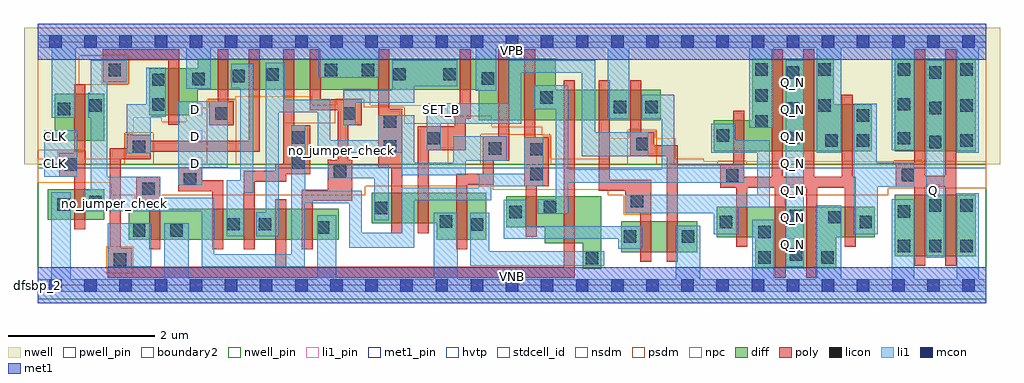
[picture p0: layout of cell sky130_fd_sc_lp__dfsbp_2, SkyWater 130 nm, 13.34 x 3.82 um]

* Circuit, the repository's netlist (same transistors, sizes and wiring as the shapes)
* Copyright 2020 The SkyWater PDK Authors
*
* Licensed under the Apache License, Version 2.0 (the "License");
* you may not use this file except in compliance with the License.
* You may obtain a copy of the License at
*
*     https://www.apache.org/licenses/LICENSE-2.0
*
* Unless required by applicable law or agreed to in writing, software
* distributed under the License is distributed on an "AS IS" BASIS,
* WITHOUT WARRANTIES OR CONDITIONS OF ANY KIND, either express or implied.
* See the License for the specific language governing permissions and
* limitations under the License.
*
* SPDX-License-Identifier: Apache-2.0

.SUBCKT sky130_fd_sc_lp__dfsbp_2 CLK D SET_B VGND VNB VPB VPWR Q Q_N
*.PININFO CLK:I D:I SET_B:I VGND:I VNB:I VPB:I VPWR:I Q:O Q_N:O
MI36 net130 M0 VGND VNB sky130_fd_pr__nfet_01v8 m=1 w=0.64U l=0.15U mult=1 sa=0.265
+ sb=0.265 sd=0.28 area=0.063 perim=1.14
MI42 db clkneg M0 VNB sky130_fd_pr__nfet_01v8 m=1 w=0.42U l=0.15U mult=1 sa=0.265
+ sb=0.265 sd=0.28 area=0.063 perim=1.14
MI44 clkneg CLK VGND VNB sky130_fd_pr__nfet_01v8 m=1 w=0.42U l=0.15U mult=1 sa=0.265
+ sb=0.265 sd=0.28 area=0.063 perim=1.14
MI39 db D VGND VNB sky130_fd_pr__nfet_01v8 m=1 w=0.42U l=0.15U mult=1 sa=0.265
+ sb=0.265 sd=0.28 area=0.063 perim=1.14
MI656 M1 M0 net113 VNB sky130_fd_pr__nfet_01v8 m=1 w=0.42U l=0.15U mult=1 sa=0.265
+ sb=0.265 sd=0.28 area=0.063 perim=1.14
MI654 net110 M1 VGND VNB sky130_fd_pr__nfet_01v8 m=1 w=0.42U l=0.15U mult=1 sa=0.265
+ sb=0.265 sd=0.28 area=0.063 perim=1.14
MI34 S0 clkpos net130 VNB sky130_fd_pr__nfet_01v8 m=1 w=0.64U l=0.15U mult=1 sa=0.265
+ sb=0.265 sd=0.28 area=0.063 perim=1.14
MI46 clkpos clkneg VGND VNB sky130_fd_pr__nfet_01v8 m=1 w=0.42U l=0.15U mult=1
+ sa=0.265 sb=0.265 sd=0.28 area=0.063 perim=1.14
MI25 net98 SET_B VGND VNB sky130_fd_pr__nfet_01v8 m=1 w=0.42U l=0.15U mult=1 sa=0.265
+ sb=0.265 sd=0.28 area=0.063 perim=1.14
MI26 S0 clkneg net90 VNB sky130_fd_pr__nfet_01v8 m=1 w=0.42U l=0.15U mult=1 sa=0.265
+ sb=0.265 sd=0.28 area=0.063 perim=1.14
MI27 net90 S1 net98 VNB sky130_fd_pr__nfet_01v8 m=1 w=0.42U l=0.15U mult=1 sa=0.265
+ sb=0.265 sd=0.28 area=0.063 perim=1.14
MI647 S1 S0 VGND VNB sky130_fd_pr__nfet_01v8 m=1 w=0.42U l=0.15U mult=1 sa=0.265
+ sb=0.265 sd=0.28 area=0.063 perim=1.14
MI655 M0 clkpos net110 VNB sky130_fd_pr__nfet_01v8 m=1 w=0.42U l=0.15U mult=1 sa=0.265
+ sb=0.265 sd=0.28 area=0.063 perim=1.14
MI657 net113 SET_B VGND VNB sky130_fd_pr__nfet_01v8 m=1 w=0.42U l=0.15U mult=1
+ sa=0.265 sb=0.265 sd=0.28 area=0.063 perim=1.14
MI651 Q_N S0 VGND VNB sky130_fd_pr__nfet_01v8 m=2 w=0.84U l=0.15U mult=1 sa=0.265
+ sb=0.265 sd=0.28 area=0.063 perim=1.14
MI652 net142 S0 VGND VNB sky130_fd_pr__nfet_01v8 m=1 w=0.42U l=0.15U mult=1 sa=0.265
+ sb=0.265 sd=0.28 area=0.063 perim=1.14
MI653 Q net142 VGND VNB sky130_fd_pr__nfet_01v8 m=2 w=0.84U l=0.15U mult=1 sa=0.265
+ sb=0.265 sd=0.28 area=0.063 perim=1.14
MI40 db D VPWR VPB sky130_fd_pr__pfet_01v8_hvt m=1 w=0.42U l=0.15U mult=1 sa=0.265
+ sb=0.265 sd=0.28 area=0.063 perim=1.14
MI38 S0 clkneg net193 VPB sky130_fd_pr__pfet_01v8_hvt m=1 w=0.84U l=0.15U mult=1
+ sa=0.265 sb=0.265 sd=0.28 area=0.063 perim=1.14
MI37 net193 M0 VPWR VPB sky130_fd_pr__pfet_01v8_hvt m=1 w=0.84U l=0.15U mult=1
+ sa=0.265 sb=0.265 sd=0.28 area=0.063 perim=1.14
MI43 db clkpos M0 VPB sky130_fd_pr__pfet_01v8_hvt m=1 w=0.42U l=0.15U mult=1 sa=0.265
+ sb=0.265 sd=0.28 area=0.063 perim=1.14
MI45 clkneg CLK VPWR VPB sky130_fd_pr__pfet_01v8_hvt m=1 w=0.64U l=0.15U mult=1
+ sa=0.265 sb=0.265 sd=0.28 area=0.063 perim=1.14
MI47 clkpos clkneg VPWR VPB sky130_fd_pr__pfet_01v8_hvt m=1 w=0.64U l=0.15U mult=1
+ sa=0.265 sb=0.265 sd=0.28 area=0.063 perim=1.14
MI659 M1 SET_B VPWR VPB sky130_fd_pr__pfet_01v8_hvt m=1 w=0.42U l=0.15U mult=1
+ sa=0.265 sb=0.265 sd=0.28 area=0.063 perim=1.14
MI662 net170 M1 VPWR VPB sky130_fd_pr__pfet_01v8_hvt m=1 w=0.42U l=0.15U mult=1
+ sa=0.265 sb=0.265 sd=0.28 area=0.063 perim=1.14
MI664 M0 clkneg net170 VPB sky130_fd_pr__pfet_01v8_hvt m=1 w=0.42U l=0.15U mult=1
+ sa=0.265 sb=0.265 sd=0.28 area=0.063 perim=1.14
MI6 net157 S1 VPWR VPB sky130_fd_pr__pfet_01v8_hvt m=1 w=0.42U l=0.15U mult=1 sa=0.265
+ sb=0.265 sd=0.28 area=0.063 perim=1.14
MI5 S0 clkpos net157 VPB sky130_fd_pr__pfet_01v8_hvt m=1 w=0.42U l=0.15U mult=1
+ sa=0.265 sb=0.265 sd=0.28 area=0.063 perim=1.14
MI24 S0 SET_B VPWR VPB sky130_fd_pr__pfet_01v8_hvt m=1 w=0.42U l=0.15U mult=1 sa=0.265
+ sb=0.265 sd=0.28 area=0.063 perim=1.14
MI648 S1 S0 VPWR VPB sky130_fd_pr__pfet_01v8_hvt m=1 w=0.42U l=0.15U mult=1 sa=0.265
+ sb=0.265 sd=0.28 area=0.063 perim=1.14
MI658 M1 M0 VPWR VPB sky130_fd_pr__pfet_01v8_hvt m=1 w=0.42U l=0.15U mult=1 sa=0.265
+ sb=0.265 sd=0.28 area=0.063 perim=1.14
MI663 net142 S0 VPWR VPB sky130_fd_pr__pfet_01v8_hvt m=1 w=0.64U l=0.15U mult=1
+ sa=0.265 sb=0.265 sd=0.28 area=0.063 perim=1.14
MI660 Q net142 VPWR VPB sky130_fd_pr__pfet_01v8_hvt m=2 w=1.26U l=0.15U mult=1
+ sa=0.265 sb=0.265 sd=0.28 area=0.063 perim=1.14
MI661 Q_N S0 VPWR VPB sky130_fd_pr__pfet_01v8_hvt m=2 w=1.26U l=0.15U mult=1 sa=0.265
+ sb=0.265 sd=0.28 area=0.063 perim=1.14
.ENDS sky130_fd_sc_lp__dfsbp_2

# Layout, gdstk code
import gdstk
lib = gdstk.Library(unit=1e-6, precision=1e-09)
def R(c, l, rs):  # rectangles x0, y0, x1, y1
    for r in rs: c.add(gdstk.rectangle(r[:2], r[2:], *l))
def A(c, l, x, y, w, h, nx, ny, dx, dy):  # array of equal rectangles
    R(c, l, [(x+i*dx, y+j*dy, x+i*dx+w, y+j*dy+h) for i in range(nx) for j in range(ny)])
def P(c, l, *ps):  # polygons
    for p in ps: c.add(gdstk.Polygon(p, *l))
nwell_pin = (64, 16)
nwell = (64, 20)
diff = (65, 20)
poly = (66, 20)
licon = (66, 44)
li1_pin = (67, 16)
li1 = (67, 20)
mcon = (67, 44)
met1_pin = (68, 16)
met1 = (68, 20)
hvtp = (78, 44)
stdcell_id = (81, 4)
nsdm = (93, 44)
psdm = (94, 20)
npc = (95, 20)
pwell_pin = (122, 16)
boundary2 = (236, 0)

sky130_fd_sc_lp__dfsbp_2 = lib.new_cell('sky130_fd_sc_lp__dfsbp_2')
R(sky130_fd_sc_lp__dfsbp_2, nwell_pin, [(0,3.085,12.96,3.33)])
R(sky130_fd_sc_lp__dfsbp_2, nwell, [(-0.19,1.655,13.15,3.52)])
R(sky130_fd_sc_lp__dfsbp_2, diff, [(11.71,0.395,12.82,1.235), (7.97,0.455,9.01,0.875), (1.24,0.625,4.115,1.045), (0.135,0.895,0.91,1.315), (11.71,1.835,12.82,3.095), (0.23,1.975,0.91,2.615)])
P(sky130_fd_sc_lp__dfsbp_2, diff, [(6.13,1.265),(4.565,1.265),(4.565,0.845),(5.45,0.845),(5.45,0.625),(6.13,0.625)],
  [(7.7,1.215),(6.4,1.215),(6.4,0.795),(6.925,0.795),(6.925,0.575),(7.45,0.575),(7.45,0.225),(7.7,0.225)],
  [(8.51,2.675),(7.075,2.675),(7.075,3.095),(2.185,3.095),(2.185,2.965),(1.52,2.965),(1.52,2.325),(2.185,2.325),(2.185,2.675),(6.025,2.675),(6.025,2.255),(8.51,2.255)],
  [(11.4,2.475),(10.875,2.475),(10.875,3.095),(9.765,3.095),(9.765,2.255),(9.24,2.255),(9.24,1.835),(11.4,1.835)],
  [(11.44,1.075),(9.28,1.075),(9.28,0.655),(9.805,0.655),(9.805,0.235),(10.915,0.235),(10.915,0.655),(11.44,0.655)])
P(sky130_fd_sc_lp__dfsbp_2, poly, [(0.645,2.745),(0.495,2.745),(0.495,1.815),(0.29,1.815),(0.29,1.485),(0.495,1.485),(0.495,0.765),(0.645,0.765)],
  [(1.675,1.485),(1.345,1.485),(1.345,1.155),(1.525,1.155),(1.525,0.495),(1.675,0.495)],
  [(1.935,3.225),(0.885,3.225),(0.885,2.775),(1.215,2.775),(1.215,3.075),(1.785,3.075),(1.785,2.195),(1.935,2.195)],
  [(2.535,1.435),(2.245,1.435),(2.245,1.615),(1.915,1.615),(1.915,1.285),(2.385,1.285),(2.385,0.495),(2.535,0.495)],
  [(2.675,2.515),(2.605,2.515),(2.605,3.225),(2.455,3.225),(2.455,2.515),(2.345,2.515),(2.345,2.185),(2.675,2.185)],
  [(3.725,2.185),(3.505,2.185),(3.505,3.225),(3.355,3.225),(3.355,1.665),(3.245,1.665),(3.245,1.565),(2.815,1.565),(2.815,0.495),(2.965,0.495),(2.965,1.415),(3.395,1.415),(3.395,1.515),(3.725,1.515)],
  [(4.425,2.545),(3.865,2.545),(3.865,3.225),(3.715,3.225),(3.715,2.395),(4.095,2.395),(4.095,1.715),(3.965,1.715),(3.965,1.305),(3.605,1.305),(3.605,0.495),(3.755,0.495),(3.755,1.155),(4.295,1.155),(4.295,1.715),(4.245,1.715),(4.245,2.185),(4.425,2.185)],
  [(4.8,3.225),(4.65,3.225),(4.65,1.605),(4.83,1.605),(4.83,0.715),(4.98,0.715),(4.98,2.415),(4.8,2.415)],
  [(5.915,3.225),(5.765,3.225),(5.765,2.425),(5.695,2.425),(5.695,2.175),(5.19,2.175),(5.19,0.715),(5.34,0.715),(5.34,1.845),(5.845,1.845),(5.845,2.275),(5.915,2.275)],
  [(6.44,3.225),(6.29,3.225),(6.29,2.035),(6.08,2.035),(6.08,1.525),(5.715,1.525),(5.715,0.495),(5.865,0.495),(5.865,1.375),(6.23,1.375),(6.23,1.705),(6.44,1.705)],
  [(6.98,2.025),(6.8,2.025),(6.8,3.225),(6.65,3.225),(6.65,1.355),(6.665,1.355),(6.665,0.665),(6.815,0.665),(6.815,1.355),(6.98,1.355)],
  [(7.34,2.805),(7.19,2.805),(7.19,0.255),(3.395,0.255),(3.395,1.175),(3.245,1.175),(3.245,0.255),(1.285,0.255),(1.285,0.515),(1.135,0.515),(1.135,1.725),(1.545,1.725),(1.545,1.825),(3.035,1.825),(3.035,3.225),(2.885,3.225),(2.885,1.975),(1.545,1.975),(1.545,2.055),(1.215,2.055),(1.215,1.875),(0.985,1.875),(0.985,0.515),(0.955,0.515),(0.955,0.105),(7.34,0.105)],
  [(8.385,1.44),(7.815,1.44),(7.815,2.805),(7.665,2.805),(7.665,1.29),(8.025,1.29),(8.025,0.985),(8.235,0.985),(8.235,0.325),(8.385,0.325)],
  [(8.745,1.915),(8.425,1.915),(8.425,2.095),(8.245,2.095),(8.245,2.805),(8.095,2.805),(8.095,1.765),(8.595,1.765),(8.595,0.325),(8.745,0.325)],
  [(11.175,1.485),(11.135,1.485),(11.135,2.605),(10.985,2.605),(10.985,1.485),(10.61,1.485),(10.61,3.225),(10.46,3.225),(10.46,1.485),(10.18,1.485),(10.18,3.225),(10.03,3.225),(10.03,1.485),(9.655,1.485),(9.655,2.385),(9.505,2.385),(9.505,1.665),(9.325,1.665),(9.325,1.335),(9.545,1.335),(9.545,0.525),(9.695,0.525),(9.695,1.335),(10.07,1.335),(10.07,0.105),(10.22,0.105),(10.22,1.335),(10.5,1.335),(10.5,0.105),(10.65,0.105),(10.65,1.335),(11.025,1.335),(11.025,0.525),(11.175,0.525)],
  [(12.555,3.225),(12.405,3.225),(12.405,1.495),(12.125,1.495),(12.125,3.225),(11.975,3.225),(11.975,1.675),(11.725,1.675),(11.725,1.345),(11.975,1.345),(11.975,0.265),(12.125,0.265),(12.125,1.345),(12.405,1.345),(12.405,0.265),(12.555,0.265)])
A(sky130_fd_sc_lp__dfsbp_2, licon, 11.75, 0.455, 0.17, 0.17, 3, 1, 0.43, 0)
A(sky130_fd_sc_lp__dfsbp_2, licon, 9.805, 2.155, 0.17, 0.17, 1, 3, 0, 0.355)
R(sky130_fd_sc_lp__dfsbp_2, licon, [(1.035,0.265,1.205,0.435), (7.49,0.285,7.66,0.455), (9.845,0.295,10.015,0.465), (10.705,0.295,10.875,0.465), (10.275,0.335,10.445,0.505), (8.01,0.58,8.18,0.75), (8.8,0.58,8.97,0.75), (9.845,0.645,10.015,0.815), (1.3,0.665,1.47,0.835), (1.81,0.665,1.98,0.835), (3.815,0.705,3.985,0.875), (5.92,0.745,6.09,0.915), (2.59,0.75,2.76,0.92), (3.02,0.75,3.19,0.92), (9.32,0.78,9.49,0.95), (11.23,0.78,11.4,0.95), (5.49,0.785,5.66,0.955), (10.8,0.845,10.97,1.015), (10.275,0.865,10.445,1.035), (6.44,0.92,6.61,1.09), (11.75,0.925,11.92,1.095), (4.605,0.97,4.775,1.14), (6.915,0.985,7.085,1.155), (12.18,1.005,12.35,1.175), (12.61,1.005,12.78,1.175), (0.265,1.02,0.435,1.19), (0.7,1.055,0.87,1.225), (8.105,1.065,8.275,1.235), (1.425,1.235,1.595,1.405), (1.995,1.365,2.165,1.535), (9.405,1.415,9.575,1.585), (11.805,1.425,11.975,1.595), (6.73,1.435,6.9,1.605), (4.045,1.465,4.215,1.635), (0.37,1.565,0.54,1.735), (3.475,1.595,3.645,1.765), (6.73,1.775,6.9,1.945), (6.16,1.785,6.33,1.955), (1.295,1.805,1.465,1.975), (4.73,1.815,4.9,1.985), (8.175,1.845,8.345,2.015), (12.18,1.875,12.35,2.045), (10.76,1.895,10.93,2.065), (11.19,1.895,11.36,2.065), (12.61,1.895,12.78,2.065), (5.325,1.925,5.495,2.095), (11.75,1.925,11.92,2.095), (10.235,1.93,10.405,2.1), (3.475,1.935,3.645,2.105), (9.28,1.96,9.45,2.13), (4.73,2.155,4.9,2.325), (11.19,2.235,11.36,2.405), (2.425,2.265,2.595,2.435), (4.175,2.265,4.345,2.435), (0.27,2.325,0.44,2.495), (10.235,2.335,10.405,2.505), (12.18,2.34,12.35,2.51), (7.87,2.355,8.04,2.525), (8.3,2.355,8.47,2.525), (0.7,2.37,0.87,2.54), (10.665,2.375,10.835,2.545), (12.61,2.375,12.78,2.545), (1.56,2.385,1.73,2.555), (11.75,2.39,11.92,2.56), (6.865,2.485,7.035,2.655), (1.56,2.725,1.73,2.895), (2.11,2.735,2.28,2.905), (6.065,2.74,6.235,2.91), (2.66,2.775,2.83,2.945), (3.125,2.795,3.295,2.965), (4.855,2.8,5.025,2.97), (5.54,2.8,5.71,2.97), (10.235,2.825,10.405,2.995), (12.18,2.825,12.35,2.995), (0.965,2.855,1.135,3.025), (3.92,2.86,4.09,3.03), (4.425,2.86,4.595,3.03), (10.665,2.865,10.835,3.035), (11.75,2.865,11.92,3.035), (12.61,2.865,12.78,3.035)])
A(sky130_fd_sc_lp__dfsbp_2, li1_pin, 10.235, 0.47, 0.17, 0.17, 1, 7, 0, 0.37)
A(sky130_fd_sc_lp__dfsbp_2, li1_pin, 2.075, 1.58, 0.17, 0.17, 1, 3, 0, 0.37)
R(sky130_fd_sc_lp__dfsbp_2, li1_pin, [(12.155,1.21,12.325,1.38), (0.155,1.58,0.325,1.75), (0.155,1.95,0.325,2.12), (5.435,2.32,5.605,2.49)])
R(sky130_fd_sc_lp__dfsbp_2, li1, [(0.955,0.255,1.55,0.845), (10.225,0.255,10.465,3.075), (12.145,0.375,12.39,3.075), (0.085,1.485,0.54,2.12)])
P(sky130_fd_sc_lp__dfsbp_2, li1, [(3.84,2.835),(3.84,3.245),(2.36,3.245),(2.36,2.685),(2.03,2.685),(2.03,3.245),(0.52,3.245),(0.52,2.29),(0.19,2.29),(0.19,3.245),(0,3.245),(0,3.415),(12.96,3.415),(12.96,3.245),(12.86,3.245),(12.86,1.815),(12.56,1.815),(12.56,3.245),(11.975,3.245),(11.975,1.845),(11.67,1.845),(11.67,3.245),(10.98,3.245),(10.98,1.815),(10.645,1.815),(10.645,3.245),(10.055,3.245),(10.055,2.155),(9.725,2.155),(9.725,3.245),(8.085,3.245),(8.085,2.275),(7.79,2.275),(7.79,3.245),(6.265,3.245),(6.265,2.66),(5.985,2.66),(5.985,3.245),(4.675,3.245),(4.675,2.835)],
  [(3.815,0.085),(3.815,0.955),(4.075,0.955),(4.075,0.085),(5.41,0.085),(5.41,0.995),(5.74,0.995),(5.74,0.085),(8.72,0.085),(8.72,0.815),(9.05,0.815),(9.05,0.085),(9.765,0.085),(9.765,0.895),(10.055,0.895),(10.055,0.085),(10.635,0.085),(10.635,1.095),(10.98,1.095),(10.98,0.085),(11.67,0.085),(11.67,1.175),(11.975,1.175),(11.975,0.085),(12.56,0.085),(12.56,1.255),(12.86,1.255),(12.86,0.085),(12.96,0.085),(12.96,-0.085),(0,-0.085),(0,0.085),(0.185,0.085),(0.185,1.27),(0.45,1.27),(0.45,0.085),(1.73,0.085),(1.73,0.845),(2.06,0.845),(2.06,0.085)],
  [(5.845,1.705),(5.845,1.505),(4.975,1.505),(4.975,1.815),(3.825,1.815),(3.825,2.365),(3.295,2.365),(3.295,0.67),(2.985,0.67),(2.985,1),(3.115,1),(3.115,3.045),(3.375,3.045),(3.375,2.535),(3.995,2.535),(3.995,1.985),(4.65,1.985),(4.65,2.325),(5.145,2.325),(5.145,1.675),(5.675,1.675),(5.675,2.035),(6.41,2.035),(6.41,1.705)],
  [(2.58,0.67),(2.58,1.435),(2.765,1.435),(2.765,2.695),(2.64,2.695),(2.64,3.025),(2.945,3.025),(2.945,1.265),(2.815,1.265),(2.815,0.67)],
  [(0.72,1.305),(0.72,2.29),(0.69,2.29),(0.69,2.63),(0.72,2.63),(0.72,3.075),(1.215,3.075),(1.215,2.775),(0.95,2.775),(0.95,1.485),(1.675,1.485),(1.675,1.195),(2.41,1.195),(2.41,0.425),(3.465,0.425),(3.465,2.185),(3.655,2.185),(3.655,1.295),(4.425,1.295),(4.425,0.72),(4.975,0.72),(4.975,1.335),(6.025,1.335),(6.025,1.525),(6.65,1.525),(6.65,2.025),(6.91,2.025),(6.91,1.355),(6.195,1.355),(6.195,1.165),(5.145,1.165),(5.145,0.515),(4.255,0.515),(4.255,1.125),(3.645,1.125),(3.645,0.255),(2.24,0.255),(2.24,1.015),(0.62,1.015),(0.62,1.305)],
  [(6.435,2.49),(6.435,3.075),(7.62,3.075),(7.62,2.095),(8.345,2.095),(8.345,1.765),(7.43,1.765),(7.43,2.905),(6.605,2.905),(6.605,2.205),(5.505,2.205),(5.505,1.845),(5.315,1.845),(5.315,2.49)],
  [(2.245,1.605),(2.245,1.365),(1.915,1.365),(1.915,2.515),(2.595,2.515),(2.595,1.605)],
  [(9.835,1.235),(9.835,1.815),(9.2,1.815),(9.2,2.21),(9.53,2.21),(9.53,1.985),(10.005,1.985),(10.005,1.065),(9.57,1.065),(9.57,0.7),(9.24,0.7),(9.24,0.985),(8.025,0.985),(8.025,1.235)],
  [(7.25,1.585),(8.525,1.585),(8.525,2.275),(8.255,2.275),(8.255,2.605),(8.695,2.605),(8.695,1.645),(9.655,1.645),(9.655,1.405),(7.25,1.405),(7.25,0.975),(6.835,0.975),(6.835,1.175),(7.08,1.175),(7.08,2.405),(6.785,2.405),(6.785,2.735),(7.25,2.735)],
  [(11.15,0.7),(11.15,2.485),(11.465,2.485),(11.465,1.675),(11.975,1.675),(11.975,1.345),(11.48,1.345),(11.48,0.7)],
  [(5.145,2.72),(5.145,2.495),(4.345,2.495),(4.345,2.185),(4.175,2.185),(4.175,2.665),(4.845,2.665),(4.845,3.075),(5.73,3.075),(5.73,2.72)],
  [(1.215,2.475),(1.48,2.475),(1.48,2.975),(1.745,2.975),(1.745,2.305),(1.545,2.305),(1.545,1.805),(1.215,1.805)],
  [(6.665,0.805),(8.26,0.805),(8.26,0.5),(7.93,0.5),(7.93,0.635),(6.365,0.635),(6.365,1.17),(6.665,1.17)],
  [(6.17,0.465),(7.74,0.465),(7.74,0.265),(5.91,0.265),(5.91,0.995),(6.17,0.995)],
  [(4.595,1.465),(3.965,1.465),(3.965,1.645),(4.795,1.645),(4.795,0.89),(4.595,0.89)])
A(sky130_fd_sc_lp__dfsbp_2, mcon, 0.155, -0.085, 0.17, 0.17, 27, 2, 0.48, 3.33)
R(sky130_fd_sc_lp__dfsbp_2, met1_pin, [(0,0,12.96,0.245), (0,3.085,12.96,3.33)])
R(sky130_fd_sc_lp__dfsbp_2, met1, [(0,-0.245,12.96,0.245), (0,3.085,12.96,3.575)])
R(sky130_fd_sc_lp__dfsbp_2, hvtp, [(0,1.6,12.96,3.33)])
R(sky130_fd_sc_lp__dfsbp_2, stdcell_id, [(0,0,12.96,3.33)])
R(sky130_fd_sc_lp__dfsbp_2, nsdm, [(0,-0.19,12.96,1.655)])
P(sky130_fd_sc_lp__dfsbp_2, psdm, [(12.96,3.52),(1.245,3.52),(1.245,2.745),(0.565,2.745),(0.565,3.135),(1.245,3.135),(1.245,3.52),(0,3.52),(0,1.845),(0.65,1.845),(0.65,1.655),(1.185,1.655),(1.185,2.085),(1.575,2.085),(1.575,1.655),(2.315,1.655),(2.315,2.545),(2.705,2.545),(2.705,1.655),(3.365,1.655),(3.365,2.215),(4.065,2.215),(4.065,2.545),(4.455,2.545),(4.455,2.435),(5.01,2.435),(5.01,2.205),(5.605,2.205),(5.605,1.655),(6.05,1.655),(6.05,2.065),(6.44,2.065),(6.44,2.055),(7.01,2.055),(7.01,1.655),(8.065,1.655),(8.065,2.125),(8.455,2.125),(8.455,1.655),(9.295,1.655),(9.295,1.695),(9.685,1.695),(9.685,1.655),(11.695,1.655),(11.695,1.705),(12.085,1.705),(12.085,1.655),(12.96,1.655)])
R(sky130_fd_sc_lp__dfsbp_2, npc, [(0.935,0.165,1.305,0.535), (0.865,2.755,1.235,3.155)])
P(sky130_fd_sc_lp__dfsbp_2, npc, [(12.96,1.695),(9.1,1.695),(9.1,1.73),(8.71,1.73),(8.71,2.01),(8.445,2.01),(8.445,2.115),(8.075,2.115),(8.075,2.01),(7.81,2.01),(7.81,1.73),(7,1.73),(7,2.045),(6.895,2.045),(6.895,2.165),(6.2,2.165),(6.2,2.32),(5.49,2.32),(5.49,2.46),(4.54,2.46),(4.54,2.69),(4.18,2.69),(4.18,2.535),(4.075,2.535),(4.075,2.47),(3.745,2.47),(3.745,2.585),(2.695,2.585),(2.695,2.535),(2.325,2.535),(2.325,2.43),(2.06,2.43),(2.06,2.34),(2.025,2.34),(2.025,2.235),(1.695,2.235),(1.695,2.295),(1.3,2.295),(1.3,2.075),(1.195,2.075),(1.195,1.73),(0.64,1.73),(0.64,1.835),(0.27,1.835),(0.27,1.73),(0,1.73),(0,1.405),(1,1.405),(1,1.23),(1.325,1.23),(1.325,1.135),(1.695,1.135),(1.695,1.23),(4.475,1.23),(4.475,1.355),(6.22,1.355),(6.22,1.305),(7.79,1.305),(7.79,1.23),(8.005,1.23),(8.005,0.965),(8.375,0.965),(8.375,1.23),(11.62,1.23),(11.62,1.325),(12.96,1.325)])
R(sky130_fd_sc_lp__dfsbp_2, pwell_pin, [(0,0,12.96,0.245)])
R(sky130_fd_sc_lp__dfsbp_2, boundary2, [(0,0,12.96,3.33)])
sky130_fd_sc_lp__dfsbp_2.add(gdstk.Label('VNB', (6.48,0.123), layer=64, texttype=59))
sky130_fd_sc_lp__dfsbp_2.add(gdstk.Label('VPB', (6.48,3.208), layer=64, texttype=5))
sky130_fd_sc_lp__dfsbp_2.add(gdstk.Label('dfsbp_2', (0,0), layer=83, texttype=44))
sky130_fd_sc_lp__dfsbp_2.add(gdstk.Label('no_jumper_check', (1.05,1.12), layer=83, texttype=44))
sky130_fd_sc_lp__dfsbp_2.add(gdstk.Label('no_jumper_check', (4.15,1.84), layer=83, texttype=44))
sky130_fd_sc_lp__dfsbp_2.add(gdstk.Label('VPWR', (6.48,3.208), layer=68, texttype=5))
sky130_fd_sc_lp__dfsbp_2.add(gdstk.Label('VGND', (6.48,0.123), layer=68, texttype=5))
sky130_fd_sc_lp__dfsbp_2.add(gdstk.Label('Q', (12.24,1.295), layer=67, texttype=5))
sky130_fd_sc_lp__dfsbp_2.add(gdstk.Label('SET_B', (5.52,2.405), layer=67, texttype=5))
sky130_fd_sc_lp__dfsbp_2.add(gdstk.Label('CLK', (0.24,1.665), layer=67, texttype=5))
sky130_fd_sc_lp__dfsbp_2.add(gdstk.Label('CLK', (0.24,2.035), layer=67, texttype=5))
sky130_fd_sc_lp__dfsbp_2.add(gdstk.Label('D', (2.16,1.665), layer=67, texttype=5))
sky130_fd_sc_lp__dfsbp_2.add(gdstk.Label('D', (2.16,2.035), layer=67, texttype=5))
sky130_fd_sc_lp__dfsbp_2.add(gdstk.Label('D', (2.16,2.405), layer=67, texttype=5))
sky130_fd_sc_lp__dfsbp_2.add(gdstk.Label('Q_N', (10.32,0.555), layer=67, texttype=5))
sky130_fd_sc_lp__dfsbp_2.add(gdstk.Label('Q_N', (10.32,0.925), layer=67, texttype=5))
sky130_fd_sc_lp__dfsbp_2.add(gdstk.Label('Q_N', (10.32,1.295), layer=67, texttype=5))
sky130_fd_sc_lp__dfsbp_2.add(gdstk.Label('Q_N', (10.32,1.665), layer=67, texttype=5))
sky130_fd_sc_lp__dfsbp_2.add(gdstk.Label('Q_N', (10.32,2.035), layer=67, texttype=5))
sky130_fd_sc_lp__dfsbp_2.add(gdstk.Label('Q_N', (10.32,2.405), layer=67, texttype=5))
sky130_fd_sc_lp__dfsbp_2.add(gdstk.Label('Q_N', (10.32,2.775), layer=67, texttype=5))

lib.write_gds('sky130_fd_sc_lp__dfsbp_2.gds')
